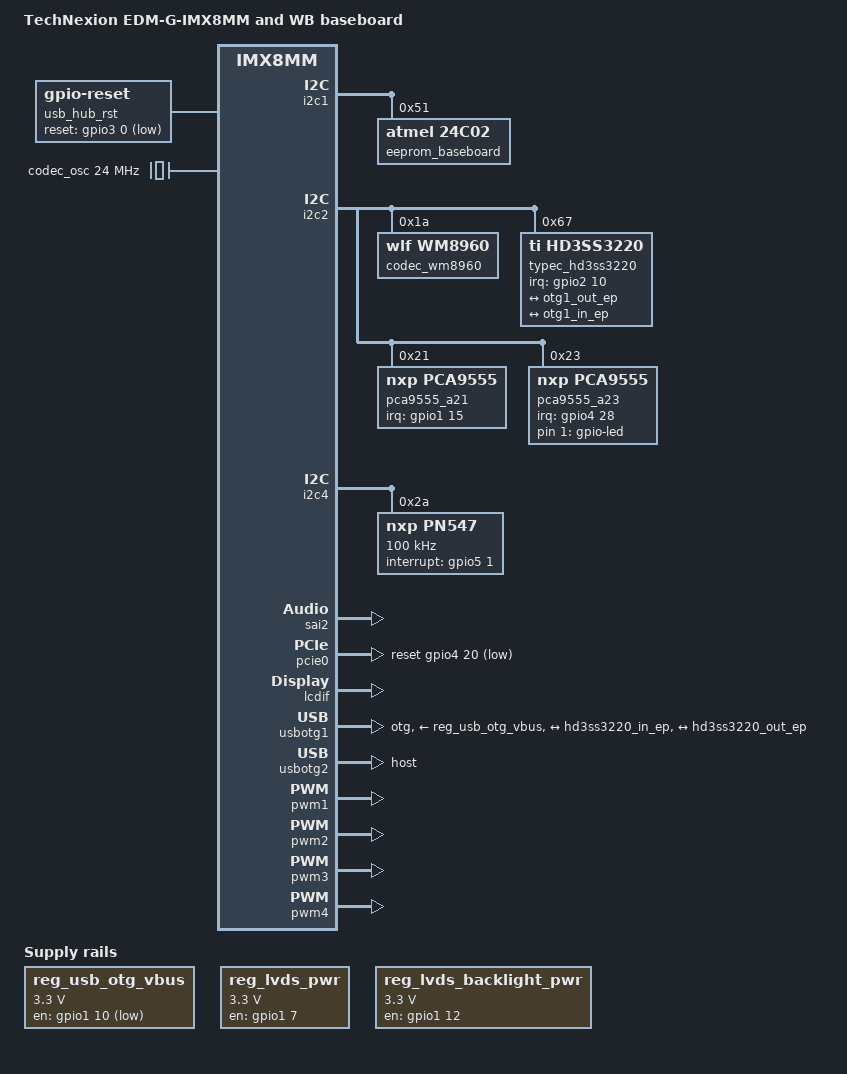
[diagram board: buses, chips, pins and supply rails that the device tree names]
// SPDX-License-Identifier: (GPL-2.0+ OR MIT)
/*
 * Copyright 2020 Technexion Ltd.
 *
 * Author: Richard Hu <richard.hu@technexion.com>
 *
 */

/dts-v1/;

#include "imx8mm-edm-g.dtsi"

/ {
	model = "TechNexion EDM-G-IMX8MM and WB baseboard";
	compatible = "fsl,imx8mm-edm-g", "fsl,imx8mm";

	regulators {
		compatible = "simple-bus";
		#address-cells = <1>;
		#size-cells = <0>;

		reg_usb_otg_vbus: usb_otg_vbus {
			pinctrl-names = "default";
			pinctrl-0 = <&pinctrl_otg_vbus>;
			compatible = "regulator-fixed";
			regulator-name = "usb_otg_vbus";
			regulator-min-microvolt = <3300000>;
			regulator-max-microvolt = <3300000>;
			gpio = <&gpio1 10 GPIO_ACTIVE_LOW>;
			enable-active-low;
		};

		reg_lvds_pwr: regulator_lvdspwr {
			pinctrl-names = "default";
			pinctrl-0 = <&pinctrl_lvds0_pwr>;
			compatible = "regulator-fixed";
			regulator-name = "lvds0_vdden";
			regulator-min-microvolt = <3300000>;
			regulator-max-microvolt = <3300000>;
			gpio = <&gpio1 7 GPIO_ACTIVE_HIGH>;
			enable-active-high;
		};

		reg_lvds_backlight_pwr: regulator_lvdsblpwr {
			pinctrl-names = "default";
			pinctrl-0 = <&pinctrl_lvds0_backlight_pwr>;
			compatible = "regulator-fixed";
			regulator-name = "lvds0_bl_en";
			regulator-min-microvolt = <3300000>;
			regulator-max-microvolt = <3300000>;
			gpio = <&gpio1 12 GPIO_ACTIVE_HIGH>;
			enable-active-high;
			regulator-always-on;
		};
	};

	lvds_backlight: lvds_backlight {
		compatible = "pwm-backlight";
		pwms = <&pwm2 0 50000>;
		brightness-levels = <0 36 72 108 144 180 216 255>;
		default-brightness-level = <6>;
		status = "disabled";
	};

	usb_hub_rst: usb_hub_rst {
		compatible = "gpio-reset";
		pinctrl-names = "default";
		pinctrl-0 = <&pinctrl_usb_hub_ctrl>;
		reset-gpios = <&gpio3 0 GPIO_ACTIVE_LOW>;
		reset-delay-us = <10>;
		#reset-cells = <0>;
	};

	leds {
		compatible = "gpio-leds";

		led {
			label = "gpio-led";
			gpios = <&pca9555_a23 1 GPIO_ACTIVE_HIGH>;
			default-state = "on";
		};
	};

	sound_wm8960: sound-wm8960 {
		compatible = "fsl,imx-audio-wm8960";
		model = "wm8960-audio";
		cpu-dai = <&sai2>;
		codec-master;
		audio-codec = <&codec_wm8960>;
		audio-routing =
			"Headphone Jack", "HP_L",
			"Headphone Jack", "HP_R",
			"Ext Spk", "SPK_LP",
			"Ext Spk", "SPK_LN",
			"Ext Spk", "SPK_RP",
			"Ext Spk", "SPK_RN",
			"LINPUT1", "Main MIC",
			"RINPUT1", "Main MIC",
			"Main MIC", "MICB";
		/* JD2: hp detect high for headphone*/
		hp-det = <2 0>;
	};

	clocks {
		codec_osc: aud_mclk {
			compatible = "fixed-clock";
			#clock-cells = <0>;
			clock-frequency = <24000000>;
			clock-output-names = "wm8960-mclk";
		};
	};
};

&gpio1 {
	pinctrl-0 = <&pinctrl_gpio1>;
	gpio-line-names =	\
		"", "", "", "", "", "", "", "",	\
		"", "", "", "DSI_RST", "", "", "", "",	\
		"", "", "", "", "", "", "", "",	\
		"", "", "", "", "", "", "", "";
};

&gpio2 {
	pinctrl-0 = <&pinctrl_gpio2>;
	gpio-line-names =	\
		"", "", "", "", "", "", "", "",	\
		"GPIO_P249", "GPIO_P251", "", "GPIO_P255", "", "", "", "",	\
		"", "", "", "", "", "", "", "",	\
		"", "", "", "", "", "", "", "";
};

&gpio5 {
	pinctrl-0 = <&pinctrl_gpio5>;
	gpio-line-names =	\
		"", "", "", "", "", "", "", "",	\
		"", "", "", "", "", "", "", "",	\
		"", "", "", "", "", "", "", "",	\
		"", "", "", "", "DSI_BL_EN", "DSI_VDDEN", "", "";
};

&iomuxc {
	pinctrl_gpio1: gpio1grp {
		fsl,pins = <
			MX8MM_IOMUXC_GPIO1_IO11_GPIO1_IO11		0x19 /* DSI_RST */
		>;
	};

	pinctrl_gpio2: gpio2grp {
		fsl,pins = <
			MX8MM_IOMUXC_SD1_DATA6_GPIO2_IO8		0x16 /* GPIO_P249 */
			MX8MM_IOMUXC_SD1_DATA7_GPIO2_IO9		0x16 /* GPIO_P251 */
			MX8MM_IOMUXC_SD1_STROBE_GPIO2_IO11		0x16 /* GPIO_P255 */
		>;
	};

	pinctrl_gpio5: gpio5grp {
		fsl,pins = <
			MX8MM_IOMUXC_UART4_RXD_GPIO5_IO28		0x16 /* DSI_BL_EN */
			MX8MM_IOMUXC_UART4_TXD_GPIO5_IO29		0x16 /* DSI_VDDEN */
		>;
	};

	pinctrl_otg_vbus: otgvbusgrp {
		fsl,pins = <
			MX8MM_IOMUXC_GPIO1_IO10_GPIO1_IO10		0x19	/* USB OTG VBUS Enable */
		>;
	};

	pinctrl_usb_hub_ctrl: usbhubctrlgrp {
		fsl,pins = <
			MX8MM_IOMUXC_NAND_ALE_GPIO3_IO0		0x39 	/* open-drain, USB_HUB_RESET */
		>;
	};

	pinctrl_hd3ss3220_irq: hd3ss3220_irqgrp {
		fsl,pins = <
			MX8MM_IOMUXC_SD1_RESET_B_GPIO2_IO10		0x41	/* GPIO_P253 */
		>;
	};

	pinctrl_lvds0_backlight_pwr: lvds0_bl_pwrgrp {
		fsl,pins = <
			MX8MM_IOMUXC_GPIO1_IO12_GPIO1_IO12		0x19
		>;
	};

	pinctrl_lvds0_pwr: lvds0_pwrgrp {
		fsl,pins = <
			MX8MM_IOMUXC_GPIO1_IO07_GPIO1_IO7		0x19
		>;
	};

	pinctrl_pca9555_a21_irq: pca9555_a21_irqgrp {
		fsl,pins = <
			MX8MM_IOMUXC_GPIO1_IO15_GPIO1_IO15		0x150
		>;
	};

	pinctrl_pca9555_a23_irq: pca9555_a23_irqgrp {
		fsl,pins = <
			MX8MM_IOMUXC_SAI3_RXFS_GPIO4_IO28		0x150	/* GPIO_P247 */
		>;
	};

	pinctrl_pcie: pciegrp {
		fsl,pins = <
			MX8MM_IOMUXC_SAI1_RXC_GPIO4_IO1			0x19 /* PCIE CLKREQ */
			MX8MM_IOMUXC_SAI1_MCLK_GPIO4_IO20		0x19 /* PCIE RST */
			MX8MM_IOMUXC_NAND_CE0_B_GPIO3_IO1		0x19 /* PCIE WAKE */
		>;
	};

	pinctrl_nfc: nfcgrp {
		fsl,pins = <
			MX8MM_IOMUXC_SAI3_TXD_GPIO5_IO1		0x19 /* IRQ */
		>;
	};

	pinctrl_csi_rst: csi1_rst_grp {
		fsl,pins = <
			MX8MM_IOMUXC_GPIO1_IO05_GPIO1_IO5		0x19
			MX8MM_IOMUXC_GPIO1_IO14_CCMSRCGPCMIX_CLKO1	0x59
		>;
	};

	pinctrl_touch_irq: touch_irqgrp {
		fsl,pins = <
			MX8MM_IOMUXC_GPIO1_IO13_GPIO1_IO13		0x41 /* Touch INT */
		>;
	};

	pinctrl_touch_reset: touch_rstgrp {
		fsl,pins = <
			MX8MM_IOMUXC_SAI5_MCLK_GPIO3_IO25		0x41 /* TOUCH_nRST, LVDS1_VDDEN */
		>;
	};
};

&i2c1 { /* BRD_CONF I2C */
	eeprom_baseboard: eeprom@51 {
		compatible = "atmel,24c02";
		reg = <0x51>;
		pagesize = <16>;
		status = "okay";
	};
};

&i2c2 {
	codec_wm8960: wm8960@1a {
		compatible = "wlf,wm8960";
		reg = <0x1a>;
		#sound-dai-cells = <0>;
		clocks = <&clk IMX8MM_CLK_SAI2>;
		//clocks = <&codec_osc>; /* Clock is from  external osc on baseboard*/
		clock-names = "mclk";
		wlf,shared-lrclk;
		wlf,fixed-mclk;
		status = "okay";
	};

	typec_hd3ss3220: hd3ss3220@67 {
		compatible = "ti,hd3ss3220";
		interrupts-extended = <&gpio2 10 IRQ_TYPE_LEVEL_LOW>;
		pinctrl-names = "default";
		pinctrl-0 = <&pinctrl_hd3ss3220_irq>;
		reg = <0x67>;

		ports {
			#address-cells = <1>;
			#size-cells = <0>;

			port@0 {
				reg = <0>;
				hd3ss3220_in_ep: endpoint {
					remote-endpoint = <&otg1_out_ep>;
				};
			};

			port@1 {
				reg = <1>;
				hd3ss3220_out_ep: endpoint {
					remote-endpoint = <&otg1_in_ep>;
				};
			};
		};
	};

	pca9555_a21: pca9555@21 {
		compatible = "nxp,pca9555";
		pinctrl-names = "default";
		pinctrl-0 = <&pinctrl_pca9555_a21_irq>;
		reg = <0x21>;
		gpio-controller;
		#gpio-cells = <2>;
		interrupt-controller;
		#interrupt-cells = <2>;
		interrupt-parent = <&gpio1>;
		interrupts = <15 IRQ_TYPE_LEVEL_LOW>;
		status = "okay";
		gpio-line-names = "EXPOSURE_TRIG_IN1", "FLASH_OUT1", "INFO_TRIG_IN1", "CAM_SHUTTER1", "XVS1", "PWR1_TIME0", "PWR1_TIME1", "PWR1_TIME2",
							"EXPOSURE_TRIG_IN2", "FLASH_OUT2", "INFO_TRIG_IN2", "CAM_SHUTTER2", "XVS2", "PWR2_TIME0", "PWR2_TIME1", "PWR2_TIME2";
	};

	pca9555_a23: pca9555@23 {
		compatible = "nxp,pca9555";
		pinctrl-names = "default";
		pinctrl-0 = <&pinctrl_pca9555_a23_irq>;
		reg = <0x23>;
		gpio-controller;
		#gpio-cells = <2>;
		interrupt-controller;
		#interrupt-cells = <2>;
		interrupt-parent = <&gpio4>;
		interrupts = <28 IRQ_TYPE_LEVEL_LOW>;
		status = "okay";
		gpio-line-names = "M2_DISABLE_N", "LED_EN", "", "", "", "", "", "USB_OTG_OC",
							"EXT_GPIO8", "EXT_GPIO9", "", "", "", "CSI1_PDB", "CSI2_PDB", "PD_FAULT";
	};
};

&i2c4 {
	pn547: pn547@2a {
		compatible = "nxp,pn547";
		reg = <0x2a>;
		pinctrl-names = "default";
		pinctrl-0 = <&pinctrl_nfc>;
		clock-frequency = <100000>;
		interrupt-gpios = <&gpio5 1 0>;
		status = "okay";
	};
};

&csi1_bridge {
	fsl,mipi-mode;
	status = "disabled";
	port {
		csi1_ep: endpoint {
			remote-endpoint = <&csi1_mipi_ep>;
		};
	};
};

&mipi_csi_1 {
	#address-cells = <1>;
	#size-cells = <0>;
	status = "disabled";
	port {
		csi1_mipi_ep: endpoint@2 {
			remote-endpoint = <&csi1_ep>;
		};
	};
};

&sai2 { /* AUD_A */
	status = "okay";
};

&pcie0{
	pinctrl-names = "default";
	pinctrl-0 = <&pinctrl_pcie>;
	disable-gpio = <&pca9555_a23 0 GPIO_ACTIVE_LOW>;
	clkreq-gpio = <&gpio4 1 GPIO_ACTIVE_LOW>;
	reset-gpio = <&gpio4 20 GPIO_ACTIVE_LOW>;
	ext_osc = <1>;
	status = "okay";
};

&lcdif {
	status = "okay";
};

&usbotg1 {
	dr_mode = "otg";
	disable-over-current;
	pinctrl-names = "default";
	power-active-high;
	vbus-supply = <&reg_usb_otg_vbus>;
	status = "okay";

	ports {
		#address-cells = <1>;
		#size-cells = <0>;

		port@0 {
			reg = <0>;
			otg1_out_ep: endpoint {
				remote-endpoint = <&hd3ss3220_in_ep>;
			};
		};

		port@1 {
			reg = <1>;
			otg1_in_ep: endpoint {
				remote-endpoint = <&hd3ss3220_out_ep>;
			};
		};
	};
};

&usbotg2 {
	dr_mode = "host";
	status = "okay";
};

&pwm1 {
	status = "okay";
};

&pwm2 {
	status = "okay";
};

&pwm3 {
	status = "okay";
};

&pwm4 {
	status = "okay";
};
